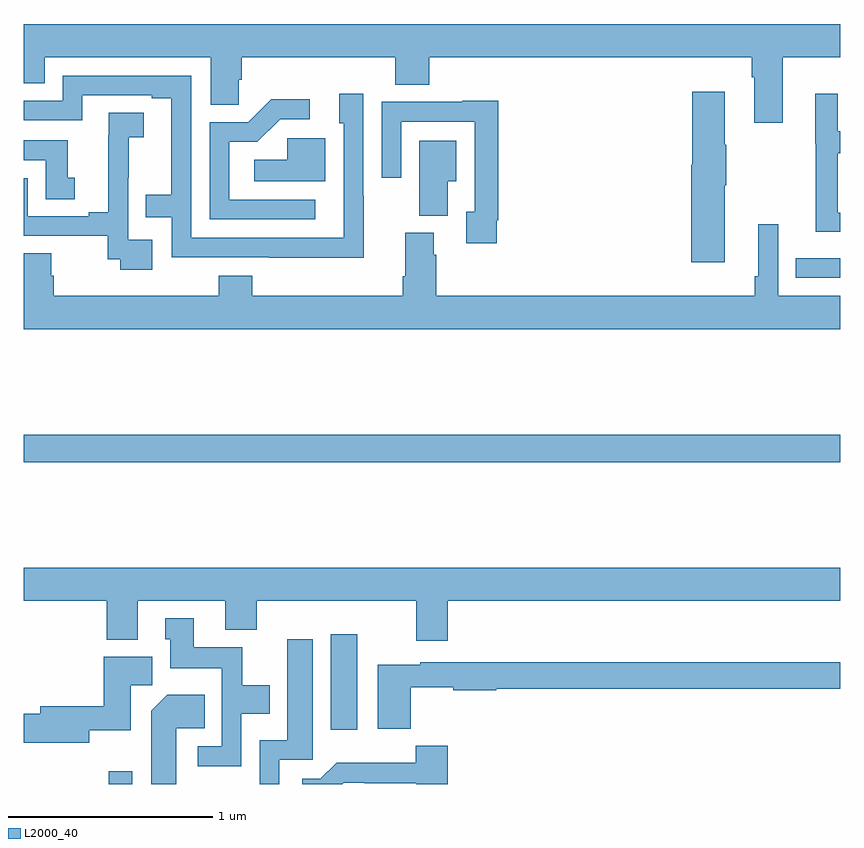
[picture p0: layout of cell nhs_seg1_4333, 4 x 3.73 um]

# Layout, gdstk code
import gdstk
lib = gdstk.Library(unit=1e-6, precision=1e-09)
def R(c, l, rs):  # rectangles x0, y0, x1, y1
    for r in rs: c.add(gdstk.rectangle(r[:2], r[2:], *l))
def P(c, l, *ps):  # polygons
    for p in ps: c.add(gdstk.Polygon(p, *l))
L2000_40 = (2000, 40)

nhs_seg1_4333 = lib.new_cell('nhs_seg1_4333')
R(nhs_seg1_4333, L2000_40, [(347.416,520.199,347.532,520.261), (348.503,520.464,348.634,520.933), (347,521.776,351,521.912), (350.782,522.681,351,522.777)])
P(nhs_seg1_4333, L2000_40, [(350.719,523.76),(351,523.76),(351,523.924),(347,523.924),(347,523.633),(347.101,523.633),(347.101,523.76),(347.915,523.76),(347.915,523.528),(348.054,523.528),(348.054,523.651),(348.068,523.651),(348.068,523.76),(348.821,523.76),(348.821,523.627),(348.986,523.627),(348.986,523.76),(350.567,523.76),(350.567,523.664),(350.579,523.664),(350.579,523.44),(350.719,523.44)],
  [(348.665,523.082),(348.663,523.082),(348.663,523.582),(348.545,523.582),(348.545,523.437),(348.567,523.437),(348.567,522.876),(347.82,522.876),(347.82,523.671),(347.19,523.671),(347.19,523.548),(347,523.548),(347,523.452),(347.286,523.452),(347.286,523.575),(347.627,523.575),(347.627,523.56),(347.723,523.56),(347.723,523.087),(347.596,523.087),(347.596,522.978),(347.724,522.978),(347.724,522.78),(348.202,522.78),(348.202,522.779),(348.665,522.779)],
  [(350.434,523.133),(350.442,523.133),(350.442,523.333),(350.434,523.333),(350.434,523.591),(350.276,523.591),(350.276,523.233),(350.27,523.233),(350.27,522.756),(350.434,522.756)],
  [(351,522.999),(350.988,522.999),(350.988,523.29),(351,523.29),(351,523.399),(350.989,523.399),(350.989,523.582),(350.879,523.582),(350.879,523.337),(350.88,523.337),(350.88,522.905),(351,522.905)],
  [(348.427,523.062),(348.006,523.062),(348.006,523.347),(348.144,523.347),(348.255,523.458),(348.4,523.458),(348.4,523.556),(348.212,523.556),(348.099,523.443),(347.91,523.443),(347.91,522.966),(348.427,522.966)],
  [(349.318,522.961),(349.325,522.961),(349.325,523.549),(349.149,523.549),(349.149,523.542),(348.753,523.542),(348.753,523.17),(348.849,523.17),(348.849,523.446),(349.209,523.446),(349.209,523.005),(349.169,523.005),(349.169,522.849),(349.318,522.849)],
  [(347.629,522.867),(347.511,522.867),(347.511,523.171),(347.513,523.171),(347.513,523.369),(347.587,523.369),(347.587,523.49),(347.416,523.49),(347.416,523.379),(347.414,523.379),(347.414,523.001),(347.318,523.001),(347.318,522.981),(347.019,522.981),(347.019,523.167),(347,523.167),(347,522.885),(347.41,522.885),(347.41,522.771),(347.473,522.771),(347.473,522.72),(347.629,522.72)],
  [(348.478,523.365),(348.291,523.365),(348.291,523.258),(348.129,523.258),(348.129,523.154),(348.478,523.154)],
  [(347.248,523.17),(347.215,523.17),(347.215,523.353),(347,523.353),(347,523.257),(347.108,523.257),(347.108,523.066),(347.248,523.066)],
  [(349.078,523.154),(349.12,523.154),(349.12,523.351),(348.938,523.351),(348.938,522.985),(349.078,522.985)],
  [(351,522.592),(350.697,522.592),(350.697,522.943),(350.6,522.943),(350.6,522.688),(350.581,522.688),(350.581,522.592),(349.022,522.592),(349.022,522.794),(349.009,522.794),(349.009,522.9),(348.869,522.9),(348.869,522.688),(348.857,522.688),(348.857,522.592),(348.119,522.592),(348.119,522.691),(347.954,522.691),(347.954,522.592),(347.147,522.592),(347.147,522.69),(347.134,522.69),(347.134,522.8),(347,522.8),(347,522.428),(351,522.428)],
  [(349.076,521.096),(351,521.096),(351,521.26),(347,521.26),(347,521.096),(347.405,521.096),(347.405,520.907),(347.557,520.907),(347.557,521.096),(347.987,521.096),(347.987,520.955),(348.14,520.955),(348.14,521.096),(348.923,521.096),(348.923,520.902),(349.076,520.902)],
  [(348.066,520.544),(348.205,520.544),(348.205,520.684),(348.069,520.684),(348.069,520.87),(347.833,520.87),(347.833,521.011),(347.693,521.011),(347.693,520.908),(347.717,520.908),(347.717,520.766),(347.97,520.766),(347.97,520.383),(347.853,520.383),(347.853,520.287),(348.066,520.287)],
  [(348.252,520.317),(348.415,520.317),(348.415,520.909),(348.29,520.909),(348.29,520.414),(348.156,520.414),(348.156,520.199),(348.252,520.199)],
  [(347.32,520.463),(347.524,520.463),(347.524,520.684),(347.629,520.684),(347.629,520.822),(347.39,520.822),(347.39,520.58),(347.081,520.58),(347.081,520.544),(347,520.544),(347,520.402),(347.32,520.402)],
  [(348.896,520.673),(349.104,520.673),(349.104,520.658),(349.314,520.658),(349.314,520.666),(351,520.666),(351,520.795),(348.942,520.795),(348.942,520.783),(348.734,520.783),(348.734,520.469),(348.896,520.469)],
  [(347.746,520.472),(347.885,520.472),(347.885,520.636),(347.702,520.636),(347.624,520.558),(347.624,520.199),(347.746,520.199)],
  [(348.568,520.206),(348.667,520.206),(348.667,520.203),(348.923,520.203),(348.923,520.199),(349.076,520.199),(349.076,520.387),(348.921,520.387),(348.921,520.303),(348.532,520.303),(348.453,520.224),(348.365,520.224),(348.365,520.199),(348.561,520.199)])

lib.write_gds('nhs_seg1_4333.gds')
